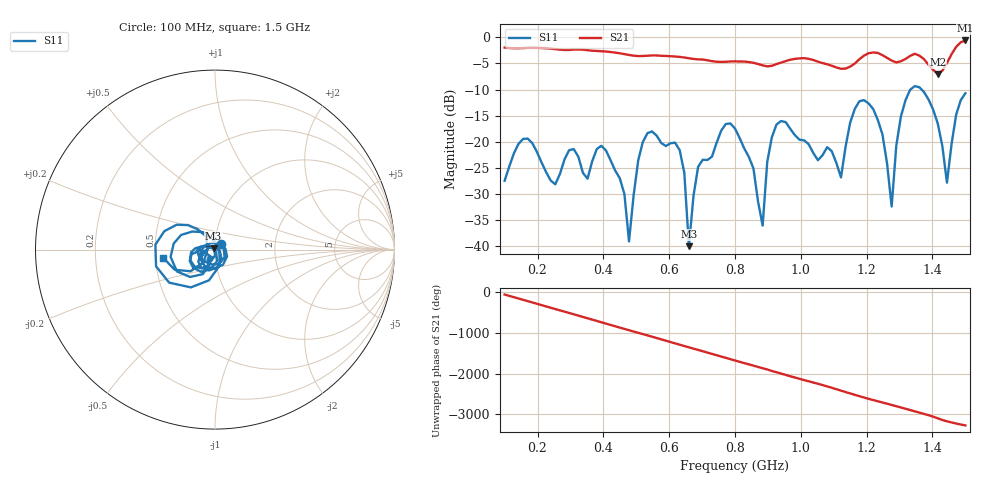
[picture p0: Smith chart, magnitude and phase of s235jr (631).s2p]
! NanoVNA-App
! Date: 2025-09-25 15:09:05
! Start: 100MHz Stop: 1,5GHz Points: 101
! S-Parameter data: F S11 S21 S12 S22
# Hz S RI R 50
!  Frequency  S11_Real  S11_Imag  S21_Real  S21_Imag  S12_Real  S12_Imag  S22_Real  S22_Imag
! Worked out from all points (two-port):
!   101 points, 100 MHz to 1.5 GHz, reference 50 ohm
!   highest |S21| = -0.59 dB at 1.5 GHz (marker M1); lowest = -7.0 dB at 1.416 GHz (marker M2)
!   |S21| within 3 dB of the highest: start of sweep to 599.2 MHz; 1.19 GHz to 1.253 GHz (62.8 MHz wide, 5.14 % of centre) (the widest 2 of 4)
!   lowest |S11| = -40.0 dB at 660 MHz (marker M3), VSWR 1.02, Z = 49.2 + j0.642 ohm
!   |S11| at or under -10 dB: start of sweep to 1.333 GHz; 1.367 GHz to end of sweep
!   S12 and S22 are empty: the file has one direction only
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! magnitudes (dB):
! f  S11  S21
! 100 MHz  -27.5  -2.0
! 156 MHz  -19.5  -2.1
! 338 MHz  -26.0  -2.4
! 408 MHz  -21.7  -2.7
! 478 MHz  -39.1  -3.4
! 520 MHz  -20.0  -3.6
! 576 MHz  -20.2  -3.5
! 632 MHz  -21.6  -3.7
! 660 MHz  -40.0  -4.0
! 688 MHz  -24.8  -4.2
! 800 MHz  -17.5  -4.6
! 884 MHz  -36.1  -5.4
! 926 MHz  -16.7  -5.1
! 1.038 GHz  -22.2  -4.3
! 1.122 GHz  -26.8  -6.0
! 1.192 GHz  -12.0  -3.5
! 1.248 GHz  -18.6  -3.4
! 1.276 GHz  -32.4  -4.4
! 1.332 GHz  -10.0  -3.6
! 1.416 GHz  -16.5  -7.0
! 1.444 GHz  -27.8  -4.9
! 1.5 GHz  -10.7  -0.6
